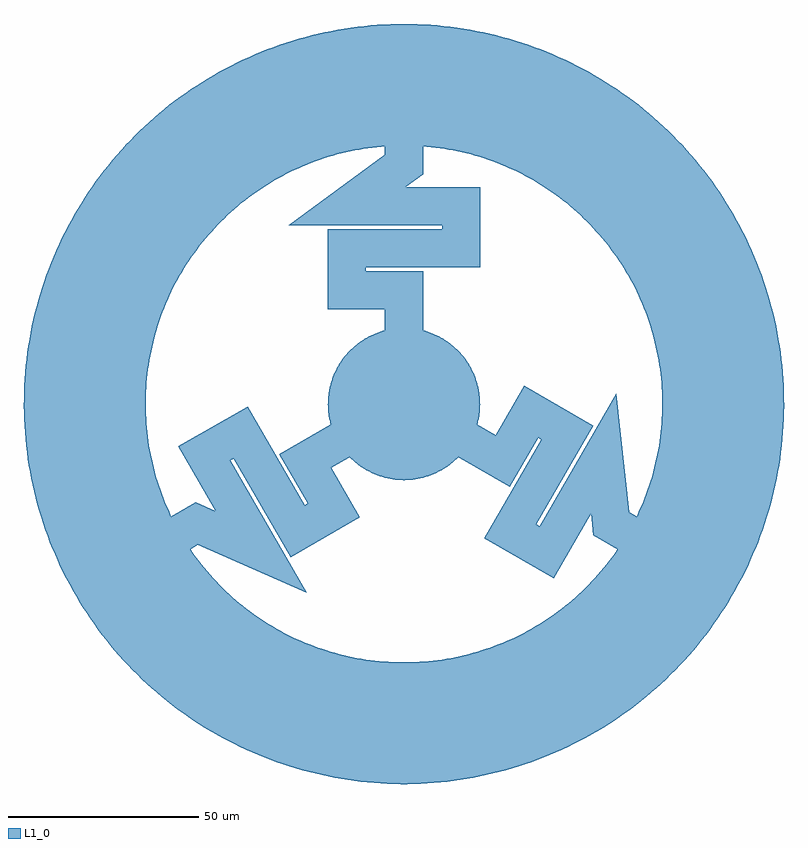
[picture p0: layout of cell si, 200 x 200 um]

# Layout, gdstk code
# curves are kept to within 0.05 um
import gdstk
lib = gdstk.Library(unit=1e-6, precision=1e-09)
def P(c, l, *ps):  # polygons
    for p in ps: c.add(gdstk.Polygon(p, *l))
L1_0 = (1, 0)

c_si = lib.new_cell('si')
P(c_si, L1_0, [(-0.175,-19.999),(-2.27,-19.871),(-4.341,-19.523),(-6.363,-18.961),(-7.996,-18.332),(-9.568,-17.563),(-11.356,-16.464),(-13.019,-15.183),(-14.296,-13.987),(-15.464,-12.684),(-16.708,-10.993),(-17.605,-9.491),(-18.503,-7.593),(-19.197,-5.612),(-19.614,-3.913),(-19.916,-1.835),(-19.998,0.263),(-19.861,2.357),(-19.579,4.084),(-19.043,6.114),(-18.297,8.076),(-17.35,9.949),(-16.414,11.428),(-15.352,12.818),(-13.924,14.357),(-12.616,15.519),(-10.92,16.756),(-9.103,17.808),(-7.512,18.536),(-5.528,19.221),(-3.827,19.631),(-1.748,19.923),(0.35,19.997),(2.096,19.89),(4.17,19.561),(6.197,19.016),(8.156,18.261),(9.721,17.479),(11.499,16.363),(12.886,15.296),(14.418,13.861),(15.574,12.548),(16.804,10.846),(17.848,9.025),(18.568,7.431),(19.147,5.78),(19.647,3.741),(19.899,2.009),(20,-0.088),(19.916,-1.835),(19.614,-3.913),(19.197,-5.612),(18.503,-7.593),(17.605,-9.491),(16.513,-11.284),(15.464,-12.684),(14.049,-14.235),(12.48,-15.629),(10.773,-16.851),(9.259,-17.728),(7.349,-18.601),(5.359,-19.269),(3.655,-19.663),(1.574,-19.938)],
  [(-0.875,-99.996),(-6.122,-99.812),(-11.352,-99.354),(-16.55,-98.621),(-19.992,-97.981),(-25.106,-96.797),(-30.152,-95.346),(-35.114,-93.632),(-38.369,-92.346),(-43.163,-90.205),(-47.838,-87.816),(-52.38,-85.184),(-56.779,-82.318),(-61.021,-79.224),(-65.094,-75.913),(-68.989,-72.392),(-71.48,-69.933),(-73.884,-67.389),(-77.318,-63.418),(-80.54,-59.273),(-83.54,-54.964),(-85.412,-52.007),(-88.024,-47.453),(-90.393,-42.768),(-92.513,-37.965),(-94.378,-33.057),(-95.983,-28.059),(-97.323,-22.983),(-98.068,-19.563),(-98.959,-14.389),(-99.578,-9.176),(-99.922,-3.937),(-99.991,1.313),(-99.785,6.559),(-99.494,10.047),(-98.83,15.254),(-97.893,20.42),(-97.118,23.834),(-95.734,28.898),(-94.664,32.23),(-92.842,37.154),(-91.485,40.38),(-89.239,45.126),(-86.748,49.747),(-84.954,52.753),(-83.056,55.693),(-80.018,59.976),(-76.76,64.092),(-73.321,68),(0,68),(-3.569,67.906),(-8.31,67.49),(-13.011,66.744),(-16.496,65.969),(-19.935,65.012),(-24.434,63.459),(-27.731,62.089),(-32.006,59.997),(-35.11,58.235),(-39.098,55.636),(-42.894,52.765),(-45.604,50.441),(-49.021,47.127),(-51.426,44.49),(-53.69,41.729),(-56.478,37.871),(-58.388,34.855),(-60.683,30.686),(-62.21,27.459),(-63.978,23.04),(-65.433,18.508),(-66.314,15.049),(-67.204,10.373),(-67.656,6.832),(-67.968,2.082),(-67.984,-1.488),(-67.812,-5.053),(-67.292,-9.784),(-66.686,-13.303),(-65.592,-17.935),(-64.561,-21.352),(-62.909,-25.816),(-60.949,-30.153),(-59.282,-33.311),(-57.453,-36.376),(-54.767,-40.306),(-51.814,-44.038),(-49.431,-46.696),(-46.044,-50.04),(-43.354,-52.387),(-39.583,-55.292),(-36.627,-57.293),(-32.53,-59.715),(-29.351,-61.339),(-26.091,-62.795),(-21.635,-64.467),(-17.072,-65.822),(-13.594,-66.627),(-10.079,-67.249),(-5.35,-67.789),(-1.785,-67.977),(2.974,-67.935),(6.536,-67.685),(11.254,-67.062),(15.918,-66.111),(19.365,-65.184),(23.878,-63.67),(27.186,-62.329),(31.48,-60.275),(34.599,-58.54),(38.61,-55.976),(41.494,-53.872),(44.264,-51.621),(47.767,-48.398),(50.241,-45.824),(52.577,-43.124),(54.767,-40.306),(56.807,-37.376),(58.69,-34.343),(60.412,-31.215),(61.967,-28.002),(62.909,-25.816),(64.177,-22.479),(65.268,-19.08),(66.18,-15.628),(66.909,-12.134),(67.453,-8.605),(67.812,-5.053),(67.984,-1.488),(67.994,0.893),(67.854,4.46),(67.526,8.015),(67.012,11.548),(66.314,15.049),(65.747,17.36),(64.745,20.787),(63.565,24.156),(62.21,27.459),(60.683,30.686),(59.572,32.791),(57.769,35.872),(55.806,38.854),(54.412,40.783),(52.197,43.583),(49.838,46.262),(47.341,48.814),(43.811,52.006),(40.066,54.943),(38.118,56.312),(35.11,58.235),(30.951,60.548),(26.64,62.565),(24.434,63.459),(21.07,64.653),(16.496,65.969),(13.011,66.744),(10.667,67.158),(5.943,67.74),(1.19,67.99),(-73.321,68),(-69.62,71.785),(-65.756,75.34),(-61.712,78.687),(-57.497,81.817),(-53.124,84.722),(-48.604,87.394),(-43.951,89.824),(-39.176,92.007),(-34.293,93.936),(-29.316,95.606),(-24.258,97.013),(-19.133,98.153),(-13.956,99.021),(-8.74,99.617),(-3.5,99.939),(1.75,99.985),(6.995,99.755),(10.482,99.449),(15.687,98.762),(20.848,97.803),(25.952,96.574),(30.985,95.079),(34.293,93.936),(39.176,92.007),(43.951,89.824),(48.604,87.394),(51.633,85.639),(56.056,82.811),(60.325,79.755),(64.428,76.479),(68.353,72.993),(72.089,69.305),(75.627,65.426),(78.956,61.367),(81.056,58.566),(84.018,54.231),(85.864,51.258),(88.436,46.681),(90.764,41.975),(92.842,37.154),(94.664,32.23),(95.734,28.898),(97.118,23.834),(98.235,18.704),(99.082,13.522),(99.655,8.304),(99.953,3.062),(99.999,-0.438),(99.838,-5.685),(99.578,-9.176),(98.959,-14.389),(98.068,-19.563),(97.323,-22.983),(95.983,-28.059),(94.378,-33.057),(92.513,-37.965),(90.393,-42.768),(88.024,-47.453),(85.412,-52.007),(83.54,-54.964),(80.54,-59.273),(77.318,-63.418),(73.884,-67.389),(70.245,-71.173),(66.413,-74.762),(62.398,-78.144),(59.625,-80.28),(55.329,-83.299),(50.882,-86.088),(47.838,-87.816),(43.163,-90.205),(38.369,-92.346),(33.47,-94.232),(28.478,-95.859),(23.408,-97.222),(18.274,-98.316),(13.089,-99.14),(7.868,-99.69),(2.625,-99.966)])
c_si.add(gdstk.FlexPath([(0,0),(0,30),(-15,30),(-15,41),(15,41),(15,52),(-15,52),(-15,52),(0,63),(0,68)], 10, ends="flush", simple_path=True, layer=1, datatype=0))  # L1_0
c_si.add(gdstk.FlexPath([(0,0),(-25.981,-15),(-18.481,-27.99),(-28.007,-33.49),(-43.007,-7.51),(-52.533,-13.01),(-37.533,-38.99),(-37.533,-38.99),(-54.56,-31.5),(-58.89,-34)], 10, ends="flush", simple_path=True, layer=1, datatype=0))  # L1_0
c_si.add(gdstk.FlexPath([(0,0),(25.981,-15),(33.481,-2.01),(43.007,-7.51),(28.007,-33.49),(37.533,-38.99),(52.533,-13.01),(52.533,-13.01),(54.56,-31.5),(58.89,-34)], 10, ends="flush", simple_path=True, layer=1, datatype=0))  # L1_0

lib.write_gds('si.gds')
